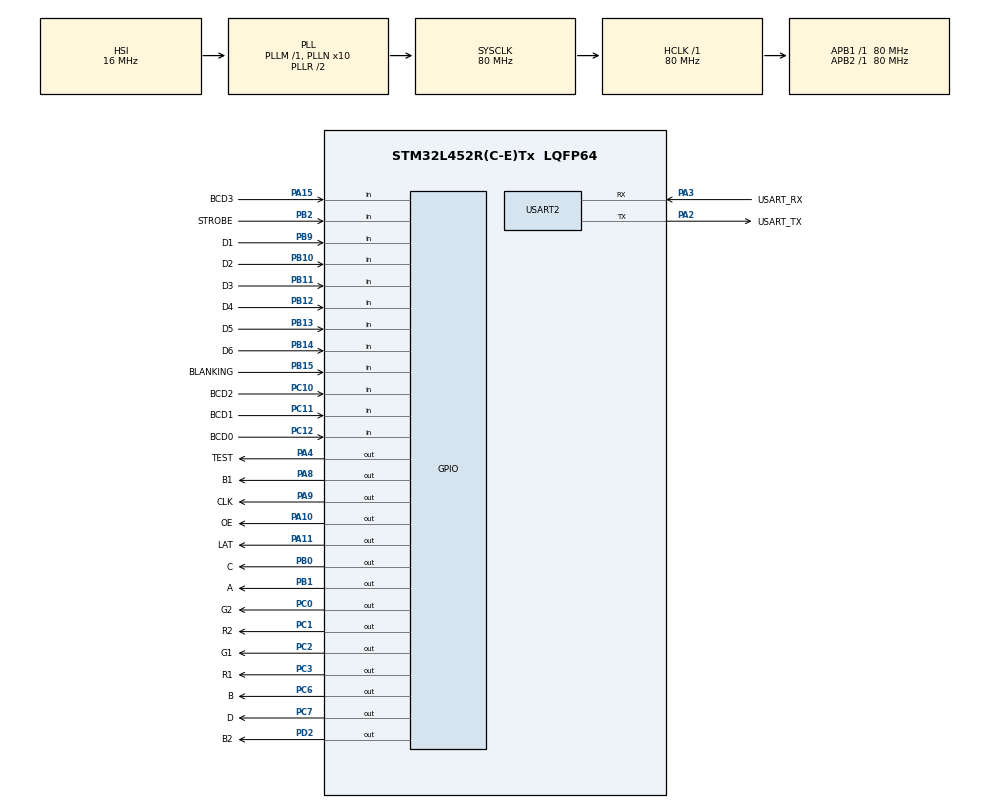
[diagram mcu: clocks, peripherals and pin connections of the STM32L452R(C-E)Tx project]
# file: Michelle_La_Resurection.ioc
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Mcu.Family=STM32L4
Mcu.Name=STM32L452R(C-E)Tx
Mcu.Package=LQFP64
NVIC.PriorityGroup=NVIC_PRIORITYGROUP_4
NVIC.TIM1_UP_TIM16_IRQn=true\:0\:0\:false\:false\:true\:true\:true\:true
PA10.GPIO_Label=OE
PA10.Signal=GPIO_Output
PA11.GPIO_Label=LAT
PA11.Signal=GPIO_Output
PA13\ (JTMS/SWDIO).GPIO_Label=TMS
PA13\ (JTMS/SWDIO).Mode=Serial_Wire
PA13\ (JTMS/SWDIO).Signal=SYS_JTMS-SWDIO
PA14\ (JTCK/SWCLK).GPIO_Label=TCK
PA14\ (JTCK/SWCLK).Mode=Serial_Wire
PA14\ (JTCK/SWCLK).Signal=SYS_JTCK-SWCLK
PA15\ (JTDI).GPIO_Label=BCD3
PA15\ (JTDI).Signal=GPIO_Input
PA2.GPIO_Label=USART_TX
PA2.GPIO_Mode=GPIO_MODE_AF_PP
PA2.GPIO_PuPd=GPIO_NOPULL
PA2.GPIO_Speed=GPIO_SPEED_FREQ_VERY_HIGH
PA2.Mode=Asynchronous
PA2.Signal=USART2_TX
PA3.GPIO_Label=USART_RX
PA3.GPIO_Mode=GPIO_MODE_AF_PP
PA3.GPIO_PuPd=GPIO_NOPULL
PA3.GPIO_Speed=GPIO_SPEED_FREQ_VERY_HIGH
PA3.Mode=Asynchronous
PA3.Signal=USART2_RX
PA4.GPIO_Label=TEST
PA4.Signal=GPIO_Output
PA8.GPIO_Label=B1
PA8.Signal=GPIO_Output
PA9.GPIO_Label=CLK
PA9.Signal=GPIO_Output
PB0.GPIO_Label=C
PB0.Signal=GPIO_Output
PB1.GPIO_Label=A
PB1.Signal=GPIO_Output
PB10.GPIO_Label=D2
PB10.Signal=GPIO_Input
PB11.GPIO_Label=D3
PB11.Signal=GPIO_Input
PB12.GPIO_Label=D4
PB12.Signal=GPIO_Input
PB13.GPIO_Label=D5
PB13.Signal=GPIO_Input
PB14.GPIO_Label=D6
PB14.Signal=GPIO_Input
PB15.GPIO_Label=BLANKING
PB15.Signal=GPIO_Input
PB2.GPIO_Label=STROBE
PB2.Signal=GPIO_Input
PB3\ (JTDO/TRACESWO).GPIO_Label=SWO
PB3\ (JTDO/TRACESWO).Signal=SYS_JTDO-SWO
PB9.GPIO_Label=D1
PB9.Signal=GPIO_Input
PC0.GPIO_Label=G2
PC0.Signal=GPIO_Output
PC1.GPIO_Label=R2
PC1.Signal=GPIO_Output
PC10.GPIO_Label=BCD2
PC10.Signal=GPIO_Input
PC11.GPIO_Label=BCD1
PC11.Signal=GPIO_Input
PC12.GPIO_Label=BCD0
PC12.Signal=GPIO_Input
PC14-OSC32_IN\ (PC14).Mode=LSE-External-Oscillator
PC14-OSC32_IN\ (PC14).Signal=RCC_OSC32_IN
PC15-OSC32_OUT\ (PC15).Mode=LSE-External-Oscillator
PC15-OSC32_OUT\ (PC15).Signal=RCC_OSC32_OUT
PC2.GPIO_Label=G1
PC2.Signal=GPIO_Output
PC3.GPIO_Label=R1
PC3.Signal=GPIO_Output
PC6.GPIO_Label=B
PC6.Signal=GPIO_Output
PC7.GPIO_Label=D
PC7.Signal=GPIO_Output
PD2.GPIO_Label=B2
PD2.Signal=GPIO_Output
PH0-OSC_IN\ (PH0).Signal=RCC_OSC_IN
PH1-OSC_OUT\ (PH1).Signal=RCC_OSC_OUT
ProjectManager.HeapSize=0x200
ProjectManager.StackSize=0x400
ProjectManager.TargetToolchain=STM32CubeIDE
RCC.ADCFreq_Value=64000000
RCC.AHBFreq_Value=80000000
RCC.APB1Freq_Value=80000000
RCC.APB1TimFreq_Value=80000000
RCC.APB2Freq_Value=80000000
RCC.APB2TimFreq_Value=80000000
RCC.CortexFreq_Value=80000000
RCC.HCLKFreq_Value=80000000
RCC.HSE_VALUE=8000000
RCC.HSI48_VALUE=48000000
RCC.HSI_VALUE=16000000
RCC.MSI_VALUE=4000000
RCC.PLLN=10
RCC.PLLSourceVirtual=RCC_PLLSOURCE_HSI
RCC.PREFETCH_ENABLE=1
RCC.SYSCLKFreq_VALUE=80000000
RCC.SYSCLKSource=RCC_SYSCLKSOURCE_PLLCLK
RCC.USBFreq_Value=64000000
RCC.VCOOutputFreq_Value=160000000
TIM16.Period=10000-1
USART2.VirtualMode-Asynchronous=VM_ASYNC
VP_TIM16_VS_ClockSourceINT.Mode=Enable_Timer
board=NUCLEO-L452RE

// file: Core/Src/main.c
/* USER CODE BEGIN Header */
/**
 ******************************************************************************
 * @file           : main.c
 * @brief          : Main program body
 ******************************************************************************
 * @attention
 *
 * Copyright (c) 2024 STMicroelectronics.
 * All rights reserved.
 *
 * This software is licensed under terms that can be found in the LICENSE file
 * in the root directory of this software component.
 * If no LICENSE file comes with this software, it is provided AS-IS.
 *
 ******************************************************************************
 * @author Antoine DANIEL
 * @author Thomas LOPES
 */
/* USER CODE END Header */
#include "main.h"

/* USER CODE BEGIN Includes */
#include <stdio.h>
#include <string.h>
#include "font5x7.h"
#include "objects.h"
#include "screen.h"
#include "utility.h"
/* USER CODE END Includes */

TIM_HandleTypeDef htim16;

UART_HandleTypeDef huart2;

/* USER CODE BEGIN PV */
const Pixel RED_Pixel = {255, 0, 0};
const Pixel GREEN_Pixel = {0, 255, 0};
const Pixel BLUE_Pixel = {0, 0, 255};
const Pixel WHITE_Pixel = {255, 255, 255};
const Pixel BLACK_Pixel = {0, 0, 0};
/* USER CODE END PV */

void SystemClock_Config(void);
static void MX_GPIO_Init(void);
static void MX_USART2_UART_Init(void);
static void MX_TIM16_Init(void);
/* USER CODE BEGIN PFP */
/**
 * @brief Affiche l'ensemble de pixels sur la dalle. Correspond à un
 * rafraîchissement complet de la dalle.
 *
 * @param bitset Pointeurs vers l'ensemble de pixels de la dalle.
 */
void Affichage(HUB75_bitset *bitset);

/**
 * @brief Recompose le nombre à partir des broches BCD.
 */
unsigned char ReadBCD();

/**
 * @brief Lit le score affiché
 *
 * @param score Pointeur ou chaîne de caractère représentant le score.
 */
void ReadScore(char *score);
/* USER CODE END PFP */

/* USER CODE BEGIN 0 */
// Déclaration statique de l'affichage qui sera réutilisée tout au long du programme
// Cette déclaration est nécessaire pour les fonctions de rappel
static HUB75_bitset affichage;
static char score[] = "000000";
/* USER CODE END 0 */

int main(void)
{

  /* MCU Configuration--------------------------------------------------------*/

  /* Reset of all peripherals, Initializes the Flash interface and the Systick. */
  HAL_Init();

  /* USER CODE BEGIN Init */
  // Initialisation de toutes les broches à l'état par défaut
  // Output Enable (par défaut à : Bas)
  // HAL_GPIO_WritePin(LAT_GPIO_Port, LAT_Pin, RESET);

  // // Output Enable (par défaut à : Haut)
  // HAL_GPIO_WritePin(OE_GPIO_Port, OE_Pin, SET);

  // // Output Enable (par défaut à : Bas)
  // HAL_GPIO_WritePin(R1_GPIO_Port, R1_Pin, RESET);
  // HAL_GPIO_WritePin(R2_GPIO_Port, R2_Pin, RESET);
  // HAL_GPIO_WritePin(B1_GPIO_Port, B1_Pin, RESET);
  // HAL_GPIO_WritePin(B2_GPIO_Port, B2_Pin, RESET);
  // HAL_GPIO_WritePin(G1_GPIO_Port, G1_Pin, RESET);
  // HAL_GPIO_WritePin(G2_GPIO_Port, G2_Pin, RESET);

  // // Initialisation de la matrice de pixels
  // HUB75_bitset affichage = init_bitset();
  /* USER CODE END Init */

  /* Configure the system clock */
  SystemClock_Config();

  /* Initialize all configured peripherals */
  MX_GPIO_Init();
  MX_USART2_UART_Init();
  MX_TIM16_Init();
  /* USER CODE BEGIN 2 */
  HAL_TIM_Base_Start_IT(&htim16);  // Démarage du TIMER 16

  //  Drapeau français
  for (int i = 0; i < 32; i++) {
	  for (int j = 0; j < 128 / 3; j++) {
		  ecrire_pixel(&affichage, i, (j) % 128, BLUE_Pixel);
		  ecrire_pixel(&affichage, i, (j + 128/3) % 128, WHITE_Pixel);
		  ecrire_pixel(&affichage, i, (j + 2*128/3) % 128, RED_Pixel);
	  }
  }

  /* USER CODE END 2 */

  /* Infinite loop */
  /* USER CODE BEGIN WHILE */
  while (1) {
	  Affichage(&affichage);
    /* USER CODE END WHILE */

  }
}

void SystemClock_Config(void)
{
  RCC_OscInitTypeDef RCC_OscInitStruct = {0};
  RCC_ClkInitTypeDef RCC_ClkInitStruct = {0};

  /** Configure the main internal regulator output voltage
  */
  if (HAL_PWREx_ControlVoltageScaling(PWR_REGULATOR_VOLTAGE_SCALE1) != HAL_OK)
  {
    Error_Handler();
  }

  /** Initializes the RCC Oscillators according to the specified parameters
  * in the RCC_OscInitTypeDef structure.
  */
  RCC_OscInitStruct.OscillatorType = RCC_OSCILLATORTYPE_HSI;
  RCC_OscInitStruct.HSIState = RCC_HSI_ON;
  RCC_OscInitStruct.HSICalibrationValue = RCC_HSICALIBRATION_DEFAULT;
  RCC_OscInitStruct.PLL.PLLState = RCC_PLL_ON;
  RCC_OscInitStruct.PLL.PLLSource = RCC_PLLSOURCE_HSI;
  RCC_OscInitStruct.PLL.PLLM = 1;
  RCC_OscInitStruct.PLL.PLLN = 10;
  RCC_OscInitStruct.PLL.PLLP = RCC_PLLP_DIV7;
  RCC_OscInitStruct.PLL.PLLQ = RCC_PLLQ_DIV2;
  RCC_OscInitStruct.PLL.PLLR = RCC_PLLR_DIV2;
  if (HAL_RCC_OscConfig(&RCC_OscInitStruct) != HAL_OK)
  {
    Error_Handler();
  }

  /** Initializes the CPU, AHB and APB buses clocks
  */
  RCC_ClkInitStruct.ClockType = RCC_CLOCKTYPE_HCLK|RCC_CLOCKTYPE_SYSCLK
                              |RCC_CLOCKTYPE_PCLK1|RCC_CLOCKTYPE_PCLK2;
  RCC_ClkInitStruct.SYSCLKSource = RCC_SYSCLKSOURCE_PLLCLK;
  RCC_ClkInitStruct.AHBCLKDivider = RCC_SYSCLK_DIV1;
  RCC_ClkInitStruct.APB1CLKDivider = RCC_HCLK_DIV1;
  RCC_ClkInitStruct.APB2CLKDivider = RCC_HCLK_DIV1;

  if (HAL_RCC_ClockConfig(&RCC_ClkInitStruct, FLASH_LATENCY_4) != HAL_OK)
  {
    Error_Handler();
  }
}

static void MX_TIM16_Init(void)
{

  htim16.Instance = TIM16;
  htim16.Init.Prescaler = 0;
  htim16.Init.CounterMode = TIM_COUNTERMODE_UP;
  htim16.Init.Period = 10000-1;
  htim16.Init.ClockDivision = TIM_CLOCKDIVISION_DIV1;
  htim16.Init.RepetitionCounter = 0;
  htim16.Init.AutoReloadPreload = TIM_AUTORELOAD_PRELOAD_DISABLE;
  if (HAL_TIM_Base_Init(&htim16) != HAL_OK)
  {
    Error_Handler();
  }

}

static void MX_USART2_UART_Init(void)
{

  huart2.Instance = USART2;
  huart2.Init.BaudRate = 115200;
  huart2.Init.WordLength = UART_WORDLENGTH_8B;
  huart2.Init.StopBits = UART_STOPBITS_1;
  huart2.Init.Parity = UART_PARITY_NONE;
  huart2.Init.Mode = UART_MODE_TX_RX;
  huart2.Init.HwFlowCtl = UART_HWCONTROL_NONE;
  huart2.Init.OverSampling = UART_OVERSAMPLING_16;
  huart2.Init.OneBitSampling = UART_ONE_BIT_SAMPLE_DISABLE;
  huart2.AdvancedInit.AdvFeatureInit = UART_ADVFEATURE_NO_INIT;
  if (HAL_UART_Init(&huart2) != HAL_OK)
  {
    Error_Handler();
  }

}

static void MX_GPIO_Init(void)
{
  GPIO_InitTypeDef GPIO_InitStruct = {0};

  /* GPIO Ports Clock Enable */
  __HAL_RCC_GPIOC_CLK_ENABLE();
  __HAL_RCC_GPIOH_CLK_ENABLE();
  __HAL_RCC_GPIOA_CLK_ENABLE();
  __HAL_RCC_GPIOB_CLK_ENABLE();
  __HAL_RCC_GPIOD_CLK_ENABLE();

  /*Configure GPIO pin Output Level */
  HAL_GPIO_WritePin(GPIOC, G2_Pin|R2_Pin|G1_Pin|R1_Pin
                          |B_Pin|D_Pin, GPIO_PIN_RESET);

  /*Configure GPIO pin Output Level */
  HAL_GPIO_WritePin(GPIOA, TEST_Pin|B1_Pin|CLK_Pin|OE_Pin
                          |LAT_Pin, GPIO_PIN_RESET);

  /*Configure GPIO pin Output Level */
  HAL_GPIO_WritePin(GPIOB, C_Pin|A_Pin, GPIO_PIN_RESET);

  /*Configure GPIO pin Output Level */
  HAL_GPIO_WritePin(B2_GPIO_Port, B2_Pin, GPIO_PIN_RESET);

  /*Configure GPIO pins : G2_Pin R2_Pin G1_Pin R1_Pin
                           B_Pin D_Pin */
  GPIO_InitStruct.Pin = G2_Pin|R2_Pin|G1_Pin|R1_Pin
                          |B_Pin|D_Pin;
  GPIO_InitStruct.Mode = GPIO_MODE_OUTPUT_PP;
  GPIO_InitStruct.Pull = GPIO_NOPULL;
  GPIO_InitStruct.Speed = GPIO_SPEED_FREQ_LOW;
  HAL_GPIO_Init(GPIOC, &GPIO_InitStruct);

  /*Configure GPIO pins : TEST_Pin B1_Pin CLK_Pin OE_Pin
                           LAT_Pin */
  GPIO_InitStruct.Pin = TEST_Pin|B1_Pin|CLK_Pin|OE_Pin
                          |LAT_Pin;
  GPIO_InitStruct.Mode = GPIO_MODE_OUTPUT_PP;
  GPIO_InitStruct.Pull = GPIO_NOPULL;
  GPIO_InitStruct.Speed = GPIO_SPEED_FREQ_LOW;
  HAL_GPIO_Init(GPIOA, &GPIO_InitStruct);

  /*Configure GPIO pins : C_Pin A_Pin */
  GPIO_InitStruct.Pin = C_Pin|A_Pin;
  GPIO_InitStruct.Mode = GPIO_MODE_OUTPUT_PP;
  GPIO_InitStruct.Pull = GPIO_NOPULL;
  GPIO_InitStruct.Speed = GPIO_SPEED_FREQ_LOW;
  HAL_GPIO_Init(GPIOB, &GPIO_InitStruct);

  /*Configure GPIO pins : STROBE_Pin D2_Pin D3_Pin D4_Pin
                           D5_Pin D6_Pin BLANKING_Pin D1_Pin */
  GPIO_InitStruct.Pin = STROBE_Pin|D2_Pin|D3_Pin|D4_Pin
                          |D5_Pin|D6_Pin|BLANKING_Pin|D1_Pin;
  GPIO_InitStruct.Mode = GPIO_MODE_INPUT;
  GPIO_InitStruct.Pull = GPIO_NOPULL;
  HAL_GPIO_Init(GPIOB, &GPIO_InitStruct);

  /*Configure GPIO pin : BCD3_Pin */
  GPIO_InitStruct.Pin = BCD3_Pin;
  GPIO_InitStruct.Mode = GPIO_MODE_INPUT;
  GPIO_InitStruct.Pull = GPIO_NOPULL;
  HAL_GPIO_Init(BCD3_GPIO_Port, &GPIO_InitStruct);

  /*Configure GPIO pins : BCD2_Pin BCD1_Pin BCD0_Pin */
  GPIO_InitStruct.Pin = BCD2_Pin|BCD1_Pin|BCD0_Pin;
  GPIO_InitStruct.Mode = GPIO_MODE_INPUT;
  GPIO_InitStruct.Pull = GPIO_NOPULL;
  HAL_GPIO_Init(GPIOC, &GPIO_InitStruct);

  /*Configure GPIO pin : B2_Pin */
  GPIO_InitStruct.Pin = B2_Pin;
  GPIO_InitStruct.Mode = GPIO_MODE_OUTPUT_PP;
  GPIO_InitStruct.Pull = GPIO_NOPULL;
  GPIO_InitStruct.Speed = GPIO_SPEED_FREQ_LOW;
  HAL_GPIO_Init(B2_GPIO_Port, &GPIO_InitStruct);

}

/* USER CODE BEGIN 4 */
void HAL_GPIO_EXTI_Callback(uint16_t GPIO_Pin)
{
	switch (GPIO_Pin)
	{
		case D1_Pin:
			score[5] = '0' + ReadBCD();
			break;
		case D2_Pin:
			score[4] = '0' + ReadBCD();
			break;
		case D3_Pin:
			score[3] = '0' + ReadBCD();
			break;
		case D4_Pin:
			score[2] = '0' + ReadBCD();
			break;
		case D5_Pin:
			score[1] = '0' + ReadBCD();
			break;
		case D6_Pin:
			score[0] = '0' + ReadBCD();
			break;
		default:
			__NOP();
	}
}

void Affichage(HUB75_bitset *bitset) {
	uint16_t t = 50;
  /* Sélection des lignes */
  for (unsigned int ligne = 0; ligne < HAUTEUR_MATRICE / 2; ligne++) {
    if (ligne & 0b0001) {
      C_GPIO_Port->BSRR = (uint32_t)C_Pin;
    } else {
      C_GPIO_Port->BRR = (uint32_t)C_Pin;
    }

    if (ligne & 0b0010) {
      D_GPIO_Port->BSRR = (uint32_t)D_Pin;
    } else {
      D_GPIO_Port->BRR = (uint32_t)D_Pin;
    }

    if (ligne & 0b0100) {
      A_GPIO_Port->BSRR = (uint32_t)A_Pin;
    } else {
      A_GPIO_Port->BRR = (uint32_t)A_Pin;
    }

    if (ligne & 0b1000) {
      B_GPIO_Port->BSRR = (uint32_t)B_Pin;
    } else {
      B_GPIO_Port->BRR = (uint32_t)B_Pin;
    }

    /* Sélection des colonnes */
    for (unsigned int colonne = 0; colonne < LARGEUR_MATRICE; colonne++) {
      /* Rouge R1 */
      if (bitset->matrice[ligne][colonne].red & 0xff) {
        R1_GPIO_Port->BSRR = (uint32_t)R1_Pin;
      }

      /* Rouge R2 */
      if (bitset->matrice[ligne + 16][colonne].red & 0xff) {
        R2_GPIO_Port->BSRR = (uint32_t)R2_Pin;
      }

      /* Vert G1 */
      if (bitset->matrice[ligne][colonne].green & 0xff) {
        G1_GPIO_Port->BSRR = (uint32_t)G1_Pin;
      }

      /* Vert G2 */
      if (bitset->matrice[ligne + 16][colonne].green & 0xff) {
        G2_GPIO_Port->BSRR = (uint32_t)G2_Pin;
      }

      /* Bleu B1 */
      if (bitset->matrice[ligne][colonne].blue & 0xff) {
        B1_GPIO_Port->BSRR = (uint32_t)B1_Pin;
      }

      /* Bleu B2 */
      if (bitset->matrice[ligne + 16][colonne].blue & 0xff) {
        B2_GPIO_Port->BSRR = (uint32_t)B2_Pin;
      }

      /* Horloge */
      CLK_GPIO_Port->BSRR = (uint32_t)CLK_Pin;
      CLK_GPIO_Port->BRR = (uint32_t)CLK_Pin;

      /* RESET de toutes les broches de couleurs */
      R1_GPIO_Port->BRR = (uint32_t)R1_Pin;
      R2_GPIO_Port->BRR = (uint32_t)R2_Pin;
      B1_GPIO_Port->BRR = (uint32_t)B1_Pin;
      B2_GPIO_Port->BRR = (uint32_t)B2_Pin;
      G1_GPIO_Port->BRR = (uint32_t)G1_Pin;
      G2_GPIO_Port->BRR = (uint32_t)G2_Pin;
    }

    /* Latch */
    LAT_GPIO_Port->BSRR = (uint32_t)LAT_Pin;
    LAT_GPIO_Port->BRR = (uint32_t)LAT_Pin;

    /* Output Enabled */
    OE_GPIO_Port->BRR = (uint32_t)OE_Pin;
    delai(500);
    OE_GPIO_Port->BSRR = (uint32_t)OE_Pin;
  }
}

void affichage_bitset(HUB75_bitset *bitset) {
  // L'utilisation de pointeurs a été préférée à celle de variables car ils
  // peuvent être modifiés par la fonction tout en gardant la structure de
  // données initiale. Cela permet également d'avoir de meilleures perfomances
  // et de ne pas avoir à refaire une copie de la structure à chaque fois
  // qu'on appelle la fonction, la structure pouvant être très lourde

  // Idée d'implémentation pour la luminosité : Crée un masque BCM avec un
  // timer lors de l'écriture de la couleur sur le registre. Exemple : La
  // couleur rouge est à 165 (0b10100101), on fait varier un timer à 8 bits
  // sur un intervale de temps maximum (40 ms pour 25 ips donc 2.5 ms pour 32
  // lignes) et grâce à un masque on décide de l'écriture du bit ou non. Au
  // lieu d'avoir un masque | 0xff

  HAL_GPIO_WritePin(TEST_GPIO_Port, TEST_Pin, SET);
  for (int i = 0; i < HAUTEUR_MATRICE / 2;
       i++) { // Implémenter le scan line ici
    // Sélection des lignes
    HAL_GPIO_WritePin(C_GPIO_Port, C_Pin, i & 0b0001); // 1 ligne
    HAL_GPIO_WritePin(D_GPIO_Port, D_Pin, i & 0b0010); // 2 ligne
    HAL_GPIO_WritePin(A_GPIO_Port, A_Pin, i & 0b0100); // 4 ligne
    HAL_GPIO_WritePin(B_GPIO_Port, B_Pin, i & 0b1000); // 8 ligne
    for (int j = 0; j < LARGEUR_MATRICE; j++) {
      // Sélection des colonnes
      // Pixel rouge
      HAL_GPIO_WritePin(R1_GPIO_Port, R1_Pin, bitset->matrice[i][j].red & 0xff);
      HAL_GPIO_WritePin(R2_GPIO_Port, R2_Pin,
                        bitset->matrice[i + 16][j].red & 0xff);

      // Pixel vert
      HAL_GPIO_WritePin(G1_GPIO_Port, G1_Pin,
                        bitset->matrice[i][j].green & 0xff);
      HAL_GPIO_WritePin(G2_GPIO_Port, G2_Pin,
                        bitset->matrice[i + 16][j].green & 0xff);

      // Pixel bleu
      HAL_GPIO_WritePin(B1_GPIO_Port, B1_Pin,
                        bitset->matrice[i][j].blue & 0xff);
      HAL_GPIO_WritePin(B2_GPIO_Port, B2_Pin,
                        bitset->matrice[i + 16][j].blue & 0xff);

      // Activation de l'horloge pour décaler les bits du registre
      HAL_GPIO_WritePin(CLK_GPIO_Port, CLK_Pin, SET);
      HAL_GPIO_WritePin(CLK_GPIO_Port, CLK_Pin, RESET);
    }

    // Latch
    HAL_GPIO_WritePin(LAT_GPIO_Port, LAT_Pin, SET);
    HAL_GPIO_WritePin(LAT_GPIO_Port, LAT_Pin, RESET);

    // Output Enabled
    HAL_GPIO_WritePin(OE_GPIO_Port, OE_Pin, RESET);
    delai(500);
    HAL_GPIO_WritePin(OE_GPIO_Port, OE_Pin, SET);
  }
  HAL_GPIO_WritePin(TEST_GPIO_Port, TEST_Pin, RESET);
}

unsigned char ReadBCD() {
  unsigned char BCD;
  BCD = HAL_GPIO_ReadPin(BCD3_GPIO_Port, BCD3_Pin);
  BCD = (BCD << 1) | HAL_GPIO_ReadPin(BCD2_GPIO_Port, BCD2_Pin);
  BCD = (BCD << 1) | HAL_GPIO_ReadPin(BCD1_GPIO_Port, BCD1_Pin);
  BCD = (BCD << 1) | HAL_GPIO_ReadPin(BCD0_GPIO_Port, BCD0_Pin);
  return BCD;
}

void ReadScore(char *score) {
  unsigned char digit = 0, digit_score = ReadBCD();

  digit += HAL_GPIO_ReadPin(D1_GPIO_Port, D1_Pin) * 5;
  digit += HAL_GPIO_ReadPin(D2_GPIO_Port, D2_Pin) * 4;
  digit += HAL_GPIO_ReadPin(D3_GPIO_Port, D3_Pin) * 3;
  digit += HAL_GPIO_ReadPin(D4_GPIO_Port, D4_Pin) * 2;
  digit += HAL_GPIO_ReadPin(D5_GPIO_Port, D5_Pin) * 1;
  digit += HAL_GPIO_ReadPin(D6_GPIO_Port, D6_Pin) * 0;

  if (digit_score > 9) {
    score[digit] = ' ';
    return;
  }
  switch (digit) {
    case 0:
    case 1:
    case 2:
    case 3:
    case 4:
    case 5:
      score[digit] = '0' + digit_score;
      break;

    default:
      score[digit] = ' ';
      break;
  }
}
/* USER CODE END 4 */

void Error_Handler(void)
{
  /* USER CODE BEGIN Error_Handler_Debug */
  /* User can add his own implementation to report the HAL error return state
   */
  __disable_irq();
  while (1) {
  }
  /* USER CODE END Error_Handler_Debug */
}

#ifdef  USE_FULL_ASSERT
/**
  * @brief  Reports the name of the source file and the source line number
  *         where the assert_param error has occurred.
  * @param  file: pointer to the source file name
  * @param  line: assert_param error line source number
  * @retval None
  */
void assert_failed(uint8_t *file, uint32_t line)
{
  /* USER CODE BEGIN 6 */
  /* User can add his own implementation to report the file name and line
     number, ex: printf("Wrong parameters value: file %s on line %d\r\n",
     file, line) */
  /* USER CODE END 6 */
}
#endif /* USE_FULL_ASSERT */
